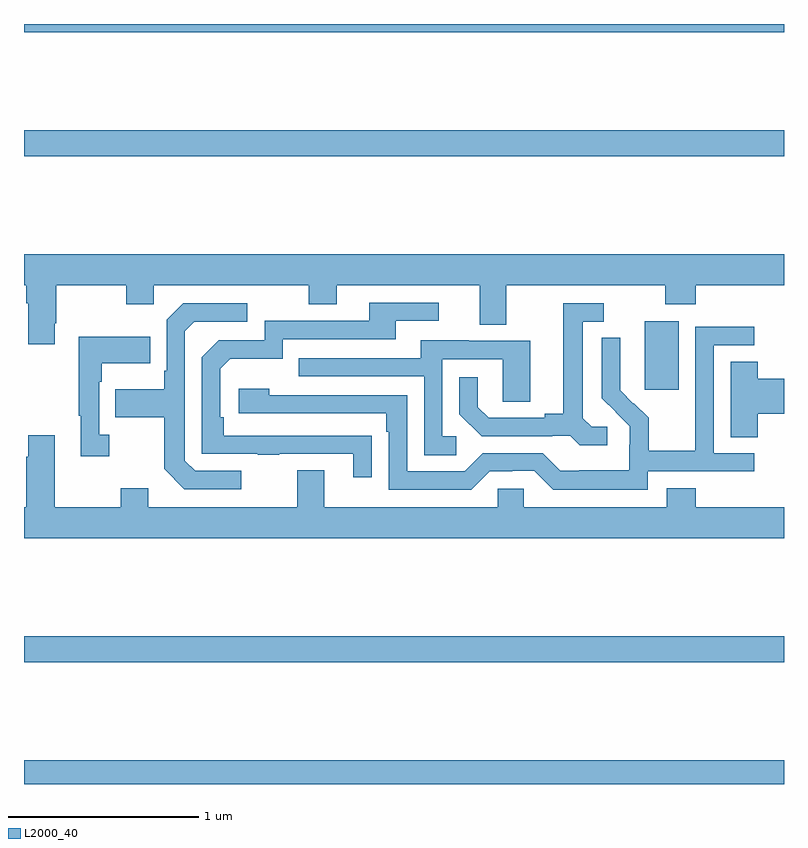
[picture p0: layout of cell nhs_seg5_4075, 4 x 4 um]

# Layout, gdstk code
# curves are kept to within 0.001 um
import gdstk
lib = gdstk.Library(unit=1e-6, precision=1e-09)
def R(c, l, rs):  # rectangles x0, y0, x1, y1
    for r in rs: c.add(gdstk.rectangle(r[:2], r[2:], *l))
def P(c, l, *ps):  # polygons
    for p in ps: c.add(gdstk.Polygon(p, *l))
L2000_40 = (2000, 40)

nhs_seg5_4075 = lib.new_cell('nhs_seg5_4075')
R(nhs_seg5_4075, L2000_40, [(351,856.799,355,856.924), (351,857.44,355,857.576), (354.266,858.873,354.445,859.234), (351,860.104,355,860.24), (351,860.756,355,860.799)])
P(nhs_seg5_4075, L2000_40, [(351.163,859.225),(351.171,859.225),(351.171,859.424),(351.538,859.424),(351.538,859.325),(351.684,859.325),(351.684,859.424),(352.498,859.424),(352.498,859.325),(352.645,859.325),(352.645,859.424),(353.399,859.424),(353.399,859.216),(353.539,859.216),(353.539,859.424),(354.376,859.424),(354.376,859.325),(354.536,859.325),(354.536,859.424),(355,859.424),(355,859.588),(351,859.588),(351,859.424),(351.011,859.424),(351.011,859.328),(351.023,859.328),(351.023,859.113),(351.163,859.113)],
  [(352.829,858.632),(352.052,858.633),(352.052,858.73),(352.032,858.73),(352.032,858.984),(352.085,859.037),(352.362,859.037),(352.362,859.14),(352.957,859.14),(352.957,859.236),(353.182,859.236),(353.182,859.332),(352.817,859.332),(352.817,859.236),(352.266,859.236),(352.266,859.134),(352.026,859.134),(351.936,859.044),(351.936,858.537),(352.231,858.537),(352.231,858.532),(352.343,858.532),(352.343,858.537),(352.733,858.537),(352.733,858.414),(352.829,858.414)],
  [(354.07,858.678),(353.988,858.678),(353.941,858.725),(353.941,859.233),(354.052,859.233),(354.052,859.329),(353.837,859.329),(353.837,858.749),(353.741,858.749),(353.741,858.726),(353.446,858.726),(353.389,858.783),(353.389,858.94),(353.292,858.94),(353.292,858.746),(353.408,858.63),(353.78,858.63),(353.78,858.633),(353.874,858.633),(353.926,858.581),(354.07,858.581)],
  [(352.144,858.447),(351.9,858.447),(351.846,858.501),(351.846,859.182),(351.897,859.233),(352.174,859.233),(352.174,859.329),(351.837,859.329),(351.75,859.242),(351.75,858.973),(351.738,858.973),(351.738,858.877),(351.481,858.877),(351.481,858.73),(351.738,858.73),(351.738,858.457),(351.843,858.351),(352.144,858.351)],
  [(354.282,858.444),(354.844,858.444),(354.844,858.54),(354.63,858.54),(354.63,859.107),(354.844,859.107),(354.844,859.206),(354.534,859.206),(354.534,858.776),(354.532,858.776),(354.532,858.553),(354.287,858.553),(354.287,858.727),(354.21,858.804),(354.207,858.801),(354.137,858.872),(354.138,859.148),(354.042,859.148),(354.042,858.83),(354.188,858.682),(354.188,858.585),(354.186,858.585),(354.186,858.451),(353.923,858.451),(353.923,858.447),(353.823,858.447),(353.73,858.54),(353.415,858.54),(353.319,858.444),(353.016,858.444),(353.016,858.846),(352.292,858.846),(352.292,858.88),(352.131,858.88),(352.131,858.75),(352.907,858.75),(352.907,858.653),(352.92,858.653),(352.92,858.348),(353.355,858.348),(353.451,858.444),(353.57,858.444),(353.57,858.447),(353.685,858.447),(353.785,858.347),(354.282,858.347)],
  [(351.448,858.638),(351.396,858.638),(351.396,858.917),(351.409,858.917),(351.409,859.013),(351.665,859.013),(351.665,859.153),(351.288,859.153),(351.288,858.737),(351.299,858.737),(351.299,858.525),(351.448,858.525)],
  [(353.275,858.63),(353.202,858.63),(353.202,859.035),(353.52,859.035),(353.52,858.811),(353.665,858.811),(353.665,859.131),(353.341,859.131),(353.341,859.135),(353.087,859.135),(353.087,859.041),(352.447,859.041),(352.447,858.945),(353.106,858.945),(353.106,858.529),(353.275,858.529)],
  [(354.863,858.749),(355,858.749),(355,858.932),(354.863,858.932),(354.863,859.022),(354.719,859.022),(354.719,858.625),(354.863,858.625)],
  [(355,858.256),(354.536,858.256),(354.536,858.355),(354.383,858.355),(354.383,858.256),(353.631,858.256),(353.631,858.354),(353.493,858.354),(353.493,858.256),(352.579,858.256),(352.579,858.451),(352.439,858.451),(352.439,858.256),(351.655,858.256),(351.655,858.355),(351.508,858.355),(351.508,858.256),(351.163,858.256),(351.163,858.634),(351.023,858.634),(351.023,858.521),(351.011,858.521),(351.011,858.256),(351,858.256),(351,858.092),(355,858.092)])

lib.write_gds('nhs_seg5_4075.gds')
